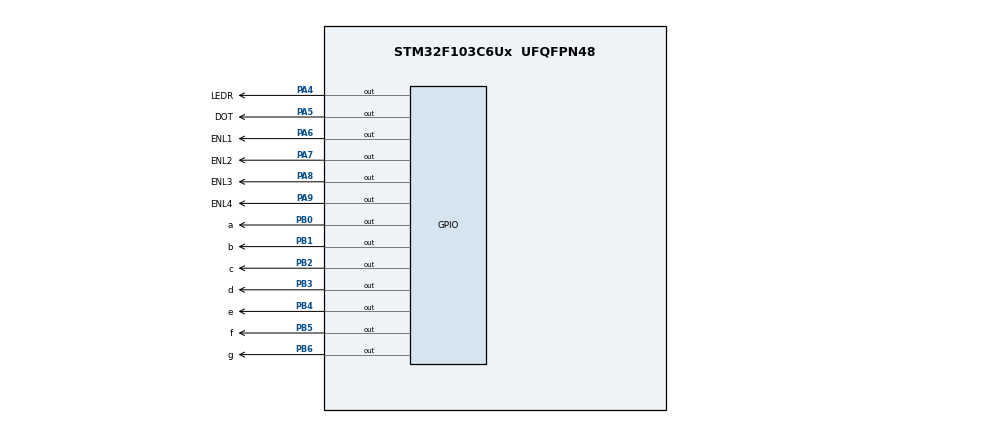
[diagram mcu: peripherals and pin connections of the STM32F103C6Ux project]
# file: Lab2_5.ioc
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Mcu.Family=STM32F1
Mcu.Name=STM32F103C6Ux
Mcu.Package=UFQFPN48
NVIC.PriorityGroup=NVIC_PRIORITYGROUP_4
NVIC.TIM2_IRQn=true\:0\:0\:false\:false\:true\:true\:true\:true
PA4.GPIO_Label=LEDR
PA4.Signal=GPIO_Output
PA5.GPIO_Label=DOT
PA5.Signal=GPIO_Output
PA6.GPIO_Label=ENL1
PA6.Signal=GPIO_Output
PA7.GPIO_Label=ENL2
PA7.Signal=GPIO_Output
PA8.GPIO_Label=ENL3
PA8.Signal=GPIO_Output
PA9.GPIO_Label=ENL4
PA9.Signal=GPIO_Output
PB0.GPIO_Label=a
PB0.Signal=GPIO_Output
PB1.GPIO_Label=b
PB1.Signal=GPIO_Output
PB2.GPIO_Label=c
PB2.Signal=GPIO_Output
PB3.GPIO_Label=d
PB3.Signal=GPIO_Output
PB4.GPIO_Label=e
PB4.Signal=GPIO_Output
PB5.GPIO_Label=f
PB5.Signal=GPIO_Output
PB6.GPIO_Label=g
PB6.Signal=GPIO_Output
ProjectManager.HeapSize=0x200
ProjectManager.StackSize=0x400
ProjectManager.TargetToolchain=STM32CubeIDE
RCC.APB1Freq_Value=8000000
RCC.APB2Freq_Value=8000000
TIM2.Period=9
TIM2.Prescaler=7999
VP_TIM2_VS_ClockSourceINT.Mode=Internal
board=custom

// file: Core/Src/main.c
/* USER CODE BEGIN Header */
/**
  ******************************************************************************
  * @file           : main.c
  * @brief          : Main program body
  ******************************************************************************
  * @attention
  *
  * Copyright (c) 2022 STMicroelectronics.
  * All rights reserved.
  *
  * This software is licensed under terms that can be found in the LICENSE file
  * in the root directory of this software component.
  * If no LICENSE file comes with this software, it is provided AS-IS.
  *
  ******************************************************************************
  */
/* USER CODE END Header */
#include "main.h"

TIM_HandleTypeDef htim2;

void SystemClock_Config(void);
static void MX_GPIO_Init(void);
static void MX_TIM2_Init(void);

/* USER CODE BEGIN 0 */
void  updateClockBuffer();
/* USER CODE END 0 */

int counter = 50;
int counter1 = 100;
int counter2 = 10;
int check = 0;

int clk_hour =15, clk_minute = 5, clk_second = 50;
int led_buffer[4] = {1,2,3,4};
int led_index = 0;

int main(void)
{

  /* MCU Configuration--------------------------------------------------------*/

  /* Reset of all peripherals, Initializes the Flash interface and the Systick. */
  HAL_Init();

  /* Configure the system clock */
  SystemClock_Config();

  /* Initialize all configured peripherals */
  MX_GPIO_Init();
  MX_TIM2_Init();
  /* USER CODE BEGIN 2 */
  HAL_TIM_Base_Start_IT(&htim2);
  HAL_GPIO_WritePin(DOT_GPIO_Port, DOT_Pin, 0);
  HAL_GPIO_WritePin(ENL1_GPIO_Port, ENL1_Pin, 1);
  HAL_GPIO_WritePin(ENL2_GPIO_Port, ENL2_Pin, 1);
  HAL_GPIO_WritePin(ENL3_GPIO_Port, ENL3_Pin, 1);
  HAL_GPIO_WritePin(ENL4_GPIO_Port, ENL4_Pin, 1);
  /* USER CODE END 2 */

  /* Infinite loop */
  while (1)
  {

    /* USER CODE BEGIN 3 */
	  clk_second++;
	  if (clk_second >=60 ){
		  clk_second = 0;
		  clk_minute++;
	  }
	  if (clk_minute >=60 ){
		  clk_minute = 0;
		  clk_hour++;
	  }
	  if (clk_hour >= 24){
		  clk_hour = 0;
	  }
	  updateClockBuffer();
	  HAL_Delay(1000);
  }
  /* USER CODE END 3 */
}

void SystemClock_Config(void)
{
  RCC_OscInitTypeDef RCC_OscInitStruct = {0};
  RCC_ClkInitTypeDef RCC_ClkInitStruct = {0};

  /** Initializes the RCC Oscillators according to the specified parameters
  * in the RCC_OscInitTypeDef structure.
  */
  RCC_OscInitStruct.OscillatorType = RCC_OSCILLATORTYPE_HSI;
  RCC_OscInitStruct.HSIState = RCC_HSI_ON;
  RCC_OscInitStruct.HSICalibrationValue = RCC_HSICALIBRATION_DEFAULT;
  RCC_OscInitStruct.PLL.PLLState = RCC_PLL_NONE;
  if (HAL_RCC_OscConfig(&RCC_OscInitStruct) != HAL_OK)
  {
    Error_Handler();
  }

  /** Initializes the CPU, AHB and APB buses clocks
  */
  RCC_ClkInitStruct.ClockType = RCC_CLOCKTYPE_HCLK|RCC_CLOCKTYPE_SYSCLK
                              |RCC_CLOCKTYPE_PCLK1|RCC_CLOCKTYPE_PCLK2;
  RCC_ClkInitStruct.SYSCLKSource = RCC_SYSCLKSOURCE_HSI;
  RCC_ClkInitStruct.AHBCLKDivider = RCC_SYSCLK_DIV1;
  RCC_ClkInitStruct.APB1CLKDivider = RCC_HCLK_DIV1;
  RCC_ClkInitStruct.APB2CLKDivider = RCC_HCLK_DIV1;

  if (HAL_RCC_ClockConfig(&RCC_ClkInitStruct, FLASH_LATENCY_0) != HAL_OK)
  {
    Error_Handler();
  }
}

static void MX_TIM2_Init(void)
{

  TIM_ClockConfigTypeDef sClockSourceConfig = {0};
  TIM_MasterConfigTypeDef sMasterConfig = {0};

  htim2.Instance = TIM2;
  htim2.Init.Prescaler = 7999;
  htim2.Init.CounterMode = TIM_COUNTERMODE_UP;
  htim2.Init.Period = 9;
  htim2.Init.ClockDivision = TIM_CLOCKDIVISION_DIV1;
  htim2.Init.AutoReloadPreload = TIM_AUTORELOAD_PRELOAD_DISABLE;
  if (HAL_TIM_Base_Init(&htim2) != HAL_OK)
  {
    Error_Handler();
  }
  sClockSourceConfig.ClockSource = TIM_CLOCKSOURCE_INTERNAL;
  if (HAL_TIM_ConfigClockSource(&htim2, &sClockSourceConfig) != HAL_OK)
  {
    Error_Handler();
  }
  sMasterConfig.MasterOutputTrigger = TIM_TRGO_RESET;
  sMasterConfig.MasterSlaveMode = TIM_MASTERSLAVEMODE_DISABLE;
  if (HAL_TIMEx_MasterConfigSynchronization(&htim2, &sMasterConfig) != HAL_OK)
  {
    Error_Handler();
  }

}

static void MX_GPIO_Init(void)
{
  GPIO_InitTypeDef GPIO_InitStruct = {0};

  /* GPIO Ports Clock Enable */
  __HAL_RCC_GPIOA_CLK_ENABLE();
  __HAL_RCC_GPIOB_CLK_ENABLE();

  /*Configure GPIO pin Output Level */
  HAL_GPIO_WritePin(GPIOA, LEDR_Pin|DOT_Pin|ENL1_Pin|ENL2_Pin
                          |ENL3_Pin|ENL4_Pin, GPIO_PIN_RESET);

  /*Configure GPIO pin Output Level */
  HAL_GPIO_WritePin(GPIOB, a_Pin|b_Pin|c_Pin|d_Pin
                          |e_Pin|f_Pin|g_Pin, GPIO_PIN_RESET);

  /*Configure GPIO pins : LEDR_Pin DOT_Pin ENL1_Pin ENL2_Pin
                           ENL3_Pin ENL4_Pin */
  GPIO_InitStruct.Pin = LEDR_Pin|DOT_Pin|ENL1_Pin|ENL2_Pin
                          |ENL3_Pin|ENL4_Pin;
  GPIO_InitStruct.Mode = GPIO_MODE_OUTPUT_PP;
  GPIO_InitStruct.Pull = GPIO_NOPULL;
  GPIO_InitStruct.Speed = GPIO_SPEED_FREQ_LOW;
  HAL_GPIO_Init(GPIOA, &GPIO_InitStruct);

  /*Configure GPIO pins : a_Pin b_Pin c_Pin d_Pin
                           e_Pin f_Pin g_Pin */
  GPIO_InitStruct.Pin = a_Pin|b_Pin|c_Pin|d_Pin
                          |e_Pin|f_Pin|g_Pin;
  GPIO_InitStruct.Mode = GPIO_MODE_OUTPUT_PP;
  GPIO_InitStruct.Pull = GPIO_NOPULL;
  GPIO_InitStruct.Speed = GPIO_SPEED_FREQ_LOW;
  HAL_GPIO_Init(GPIOB, &GPIO_InitStruct);

}

/* USER CODE BEGIN 4 */
void updateClockBuffer(){
	if (clk_hour<9) led_buffer[0] = 0;
	else led_buffer[0] = clk_hour/10;
	if (clk_minute<9) led_buffer[2] = 0;
	else led_buffer[2] = clk_minute/10;

	led_buffer[1] = clk_hour%10;
	led_buffer[3] = clk_minute%10;
}
void display7SEG(int num){
	if (num==1){
		HAL_GPIO_WritePin(a_GPIO_Port, a_Pin, 1);
		HAL_GPIO_WritePin(a_GPIO_Port, b_Pin, 0);
		HAL_GPIO_WritePin(a_GPIO_Port, c_Pin, 0);
		HAL_GPIO_WritePin(a_GPIO_Port, d_Pin, 1);
		HAL_GPIO_WritePin(a_GPIO_Port, e_Pin, 1);
		HAL_GPIO_WritePin(a_GPIO_Port, f_Pin, 1);
		HAL_GPIO_WritePin(a_GPIO_Port, g_Pin, 1);
	}
	else if (num==2){
		HAL_GPIO_WritePin(a_GPIO_Port, a_Pin, 0);
		HAL_GPIO_WritePin(a_GPIO_Port, b_Pin, 0);
		HAL_GPIO_WritePin(a_GPIO_Port, c_Pin, 1);
		HAL_GPIO_WritePin(a_GPIO_Port, d_Pin, 0);
		HAL_GPIO_WritePin(a_GPIO_Port, e_Pin, 0);
		HAL_GPIO_WritePin(a_GPIO_Port, f_Pin, 1);
		HAL_GPIO_WritePin(a_GPIO_Port, g_Pin, 0);
	}
	else if (num==3){
		HAL_GPIO_WritePin(a_GPIO_Port, a_Pin, 0);
		HAL_GPIO_WritePin(a_GPIO_Port, b_Pin, 0);
		HAL_GPIO_WritePin(a_GPIO_Port, c_Pin, 0);
		HAL_GPIO_WritePin(a_GPIO_Port, d_Pin, 0);
		HAL_GPIO_WritePin(a_GPIO_Port, e_Pin, 1);
		HAL_GPIO_WritePin(a_GPIO_Port, f_Pin, 1);
		HAL_GPIO_WritePin(a_GPIO_Port, g_Pin, 0);

	}
	else if (num==4){
		HAL_GPIO_WritePin(a_GPIO_Port, a_Pin, 1);
		HAL_GPIO_WritePin(a_GPIO_Port, b_Pin, 0);
		HAL_GPIO_WritePin(a_GPIO_Port, c_Pin, 0);
		HAL_GPIO_WritePin(a_GPIO_Port, d_Pin, 1);
		HAL_GPIO_WritePin(a_GPIO_Port, e_Pin, 1);
		HAL_GPIO_WritePin(a_GPIO_Port, f_Pin, 0);
		HAL_GPIO_WritePin(a_GPIO_Port, g_Pin, 0);
	}
	else if (num==5){
		HAL_GPIO_WritePin(a_GPIO_Port, a_Pin, 0);
		HAL_GPIO_WritePin(a_GPIO_Port, b_Pin, 1);
		HAL_GPIO_WritePin(a_GPIO_Port, c_Pin, 0);
		HAL_GPIO_WritePin(a_GPIO_Port, d_Pin, 0);
		HAL_GPIO_WritePin(a_GPIO_Port, e_Pin, 1);
		HAL_GPIO_WritePin(a_GPIO_Port, f_Pin, 0);
		HAL_GPIO_WritePin(a_GPIO_Port, g_Pin, 0);
	}
	else if (num==6){
		HAL_GPIO_WritePin(a_GPIO_Port, a_Pin, 0);
		HAL_GPIO_WritePin(a_GPIO_Port, b_Pin, 1);
		HAL_GPIO_WritePin(a_GPIO_Port, c_Pin, 0);
		HAL_GPIO_WritePin(a_GPIO_Port, d_Pin, 0);
		HAL_GPIO_WritePin(a_GPIO_Port, e_Pin, 0);
		HAL_GPIO_WritePin(a_GPIO_Port, f_Pin, 0);
		HAL_GPIO_WritePin(a_GPIO_Port, g_Pin, 0);
	}
	else if (num==7){
		HAL_GPIO_WritePin(a_GPIO_Port, a_Pin, 0);
		HAL_GPIO_WritePin(a_GPIO_Port, b_Pin, 0);
		HAL_GPIO_WritePin(a_GPIO_Port, c_Pin, 0);
		HAL_GPIO_WritePin(a_GPIO_Port, d_Pin, 1);
		HAL_GPIO_WritePin(a_GPIO_Port, e_Pin, 1);
		HAL_GPIO_WritePin(a_GPIO_Port, f_Pin, 1);
		HAL_GPIO_WritePin(a_GPIO_Port, g_Pin, 1);
	}
	else if (num==8){
		HAL_GPIO_WritePin(a_GPIO_Port, a_Pin, 0);
		HAL_GPIO_WritePin(a_GPIO_Port, b_Pin, 0);
		HAL_GPIO_WritePin(a_GPIO_Port, c_Pin, 0);
		HAL_GPIO_WritePin(a_GPIO_Port, d_Pin, 0);
		HAL_GPIO_WritePin(a_GPIO_Port, e_Pin, 0);
		HAL_GPIO_WritePin(a_GPIO_Port, f_Pin, 0);
		HAL_GPIO_WritePin(a_GPIO_Port, g_Pin, 0);
	}
	else if (num==9){
		HAL_GPIO_WritePin(a_GPIO_Port, a_Pin, 0);
		HAL_GPIO_WritePin(a_GPIO_Port, b_Pin, 0);
		HAL_GPIO_WritePin(a_GPIO_Port, c_Pin, 0);
		HAL_GPIO_WritePin(a_GPIO_Port, d_Pin, 0);
		HAL_GPIO_WritePin(a_GPIO_Port, e_Pin, 1);
		HAL_GPIO_WritePin(a_GPIO_Port, f_Pin, 0);
		HAL_GPIO_WritePin(a_GPIO_Port, g_Pin, 0);
	} else if (num==0){
		HAL_GPIO_WritePin(a_GPIO_Port, a_Pin, 0);
		HAL_GPIO_WritePin(a_GPIO_Port, b_Pin, 0);
		HAL_GPIO_WritePin(a_GPIO_Port, c_Pin, 0);
		HAL_GPIO_WritePin(a_GPIO_Port, d_Pin, 0);
		HAL_GPIO_WritePin(a_GPIO_Port, e_Pin, 0);
		HAL_GPIO_WritePin(a_GPIO_Port, f_Pin, 0);
		HAL_GPIO_WritePin(a_GPIO_Port, g_Pin, 1 );
	}
}

void HAL_TIM_PeriodElapsedCallback ( TIM_HandleTypeDef * htim )
{
	counter --;
	counter1--;
	if (counter1<=0){
		counter1 = 100;
		check = 1;
		HAL_GPIO_TogglePin(DOT_GPIO_Port, DOT_Pin);
	}
	if (check == 1) counter2--;
	if (counter2 <=0){
		counter2 = 10;
		check = 0;
		HAL_GPIO_TogglePin(DOT_GPIO_Port, DOT_Pin);
	}
	if( counter <= 0) {
		counter = 50;

		HAL_GPIO_TogglePin(LEDR_GPIO_Port, LEDR_Pin);
		if (led_index == 0) {
			HAL_GPIO_WritePin(ENL1_GPIO_Port, ENL1_Pin, 0);
			HAL_GPIO_WritePin(ENL2_GPIO_Port, ENL2_Pin, 1);
			HAL_GPIO_WritePin(ENL3_GPIO_Port, ENL3_Pin, 1);
			HAL_GPIO_WritePin(ENL4_GPIO_Port, ENL4_Pin, 1);
			display7SEG(led_buffer[led_index]);
		}
		else if (led_index == 1){
			HAL_GPIO_WritePin(ENL1_GPIO_Port, ENL1_Pin, 1);
			HAL_GPIO_WritePin(ENL2_GPIO_Port, ENL2_Pin, 0);
			HAL_GPIO_WritePin(ENL3_GPIO_Port, ENL3_Pin, 1);
			HAL_GPIO_WritePin(ENL4_GPIO_Port, ENL4_Pin, 1);
			display7SEG(led_buffer[led_index]);

		}
		else if (led_index == 2){
			HAL_GPIO_WritePin(ENL1_GPIO_Port, ENL1_Pin, 1);
			HAL_GPIO_WritePin(ENL2_GPIO_Port, ENL2_Pin, 1);
			HAL_GPIO_WritePin(ENL3_GPIO_Port, ENL3_Pin, 0);
			HAL_GPIO_WritePin(ENL4_GPIO_Port, ENL4_Pin, 1);
			display7SEG(led_buffer[led_index]);
		}
		else if (led_index == 3){
			HAL_GPIO_WritePin(ENL1_GPIO_Port, ENL1_Pin, 1);
			HAL_GPIO_WritePin(ENL2_GPIO_Port, ENL2_Pin, 1);
			HAL_GPIO_WritePin(ENL3_GPIO_Port, ENL3_Pin, 1);
			HAL_GPIO_WritePin(ENL4_GPIO_Port, ENL4_Pin, 0);
			display7SEG(led_buffer[led_index]);
		}
		led_index = (led_index+1)%4;
	}
}
/* USER CODE END 4 */

void Error_Handler(void)
{
  __disable_irq();
  while (1)
  {
  }
}
